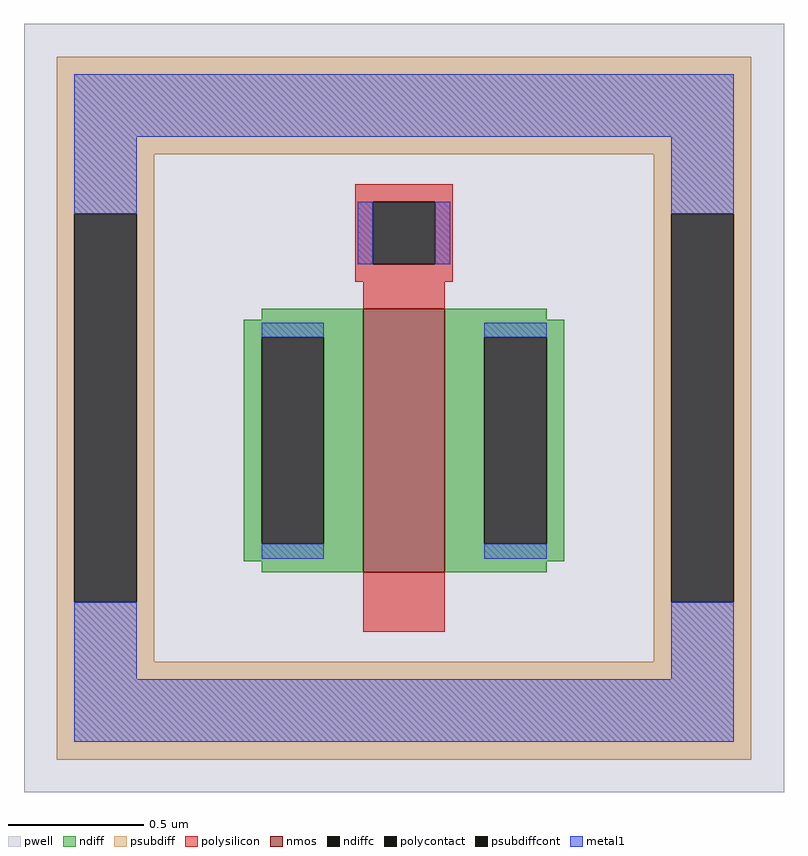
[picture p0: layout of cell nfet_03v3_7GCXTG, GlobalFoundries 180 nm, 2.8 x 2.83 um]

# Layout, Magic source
magic
tech gf180mcuD
magscale 1 10
<< pwell >>
rect -280 -283 280 283
<< nmos >>
rect -30 -121 30 73
<< ndiff >>
rect -105 65 -30 73
rect -118 52 -30 65
rect -118 -100 -105 52
rect -59 -100 -30 52
rect -118 -113 -30 -100
rect -105 -121 -30 -113
rect 30 65 105 73
rect 30 52 118 65
rect 30 -100 59 52
rect 105 -100 118 52
rect 30 -113 118 -100
rect 30 -121 105 -113
<< ndiffc >>
rect -105 -100 -59 52
rect 59 -100 105 52
<< psubdiff >>
rect -256 187 256 259
rect -256 143 -184 187
rect -256 -143 -243 143
rect -197 -143 -184 143
rect 184 143 256 187
rect -256 -187 -184 -143
rect 184 -143 197 143
rect 243 -143 256 143
rect 184 -187 256 -143
rect -256 -259 256 -187
<< psubdiffcont >>
rect -243 -143 -197 143
rect 197 -143 243 143
<< polysilicon >>
rect -36 152 36 165
rect -36 106 -23 152
rect 23 106 36 152
rect -36 93 36 106
rect -30 73 30 93
rect -30 -165 30 -121
<< polycontact >>
rect -23 106 23 152
<< metal1 >>
rect -243 200 243 246
rect -243 143 -197 200
rect -34 106 -23 152
rect 23 106 34 152
rect 197 143 243 200
rect -105 52 -59 63
rect -105 -111 -59 -100
rect 59 52 105 63
rect 59 -111 105 -100
rect -243 -200 -197 -143
rect 197 -200 243 -143
rect -243 -246 243 -200
<< properties >>
string FIXED_BBOX -220 -223 220 223
string gencell nfet_03v3
string library gf180mcu
string parameters w 0.97 l 0.3 m 1 nf 1 diffcov 90 polycov 100 guard 1 glc 1 grc 1 gtc 0 gbc 0 tbcov 100 rlcov 100 topc 1 botc 0 poverlap 0 doverlap 1 lmin 0.28 wmin 0.22 class mosfet full_metal 1 compatible {nfet_03v3 nfet_05v0 nfet_06v0 nfet_06v0_nvt}
<< end >>
